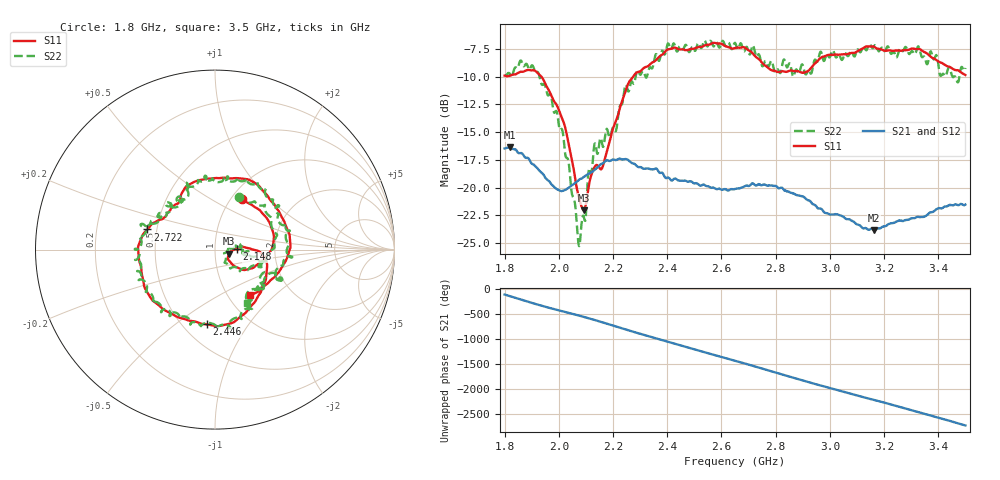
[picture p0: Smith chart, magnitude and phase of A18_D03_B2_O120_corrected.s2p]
! Created with skrf 1.9.0 (http://scikit-rf.org).
# Hz S RI R 50.0
!freq ReS11 ImS11 ReS21 ImS21 ReS12 ImS12 ReS22 ImS22
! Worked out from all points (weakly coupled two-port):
!   1601 points, 1.8 GHz to 3.5 GHz, reference 50 ohm
!   highest |S21| = -16.38 dB at 1.818 GHz (marker M1); lowest = -23.9 dB at 3.163 GHz (marker M2)
!   lowest |S11| = -22.1 dB at 2.092 GHz (marker M3), VSWR 1.17, Z = 58.1 - j2.74 ohm
!   |S11| at or under -10 dB: 1.936 GHz to 2.275 GHz (338.8 MHz wide, 16.1 % of centre)
!   |S22| runs from -25.3 to -6.7 dB; largest |S21 - S12| = 0.0026
!   S11 on the Smith chart (normalised r, x): 1.8 GHz: 1.13, +0.70; 2.148 GHz: 1.28, +0.00; 2.446 GHz: 0.65, -0.66; 2.722 GHz: 0.44, +0.12; 3.5 GHz: 1.26, -0.72
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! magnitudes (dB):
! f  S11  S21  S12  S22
! 1.8 GHz  -9.9  -16.5  -16.5  -9.8
! 1.818 GHz  -9.9  -16.4  -16.4  -9.7
! 1.903 GHz  -9.4  -17.9  -17.9  -9.0
! 1.968 GHz  -11.5  -19.5  -19.6  -11.6
! 2.015 GHz  -13.9  -20.3  -20.3  -15.0
! 2.072 GHz  -20.7  -19.4  -19.4  -25.0
! 2.084 GHz  -21.7  -19.2  -19.1  -23.3
! 2.092 GHz  -22.1  -19.1  -19.1  -22.7
! 2.112 GHz  -19.6  -18.7  -18.7  -18.3
! 2.148 GHz  -18.2  -18.0  -18.0  -16.2
! 2.209 GHz  -14.1  -17.5  -17.5  -14.9
! 2.259 GHz  -10.5  -17.6  -17.6  -11.3
! 2.367 GHz  -8.3  -18.5  -18.5  -8.5
! 2.446 GHz  -7.6  -19.4  -19.4  -7.3
! 2.65 GHz  -7.4  -20.1  -20.1  -7.0
! 2.722 GHz  -8.1  -19.7  -19.7  -7.6
! 2.802 GHz  -9.5  -19.9  -19.9  -9.5
! 2.934 GHz  -9.1  -21.4  -21.4  -9.6
! 3.163 GHz  -7.3  -23.9  -23.8  -7.3
! 3.217 GHz  -7.6  -23.3  -23.3  -7.4
! 3.468 GHz  -9.4  -21.5  -21.5  -10.4
! 3.5 GHz  -9.9  -21.5  -21.5  -9.2
